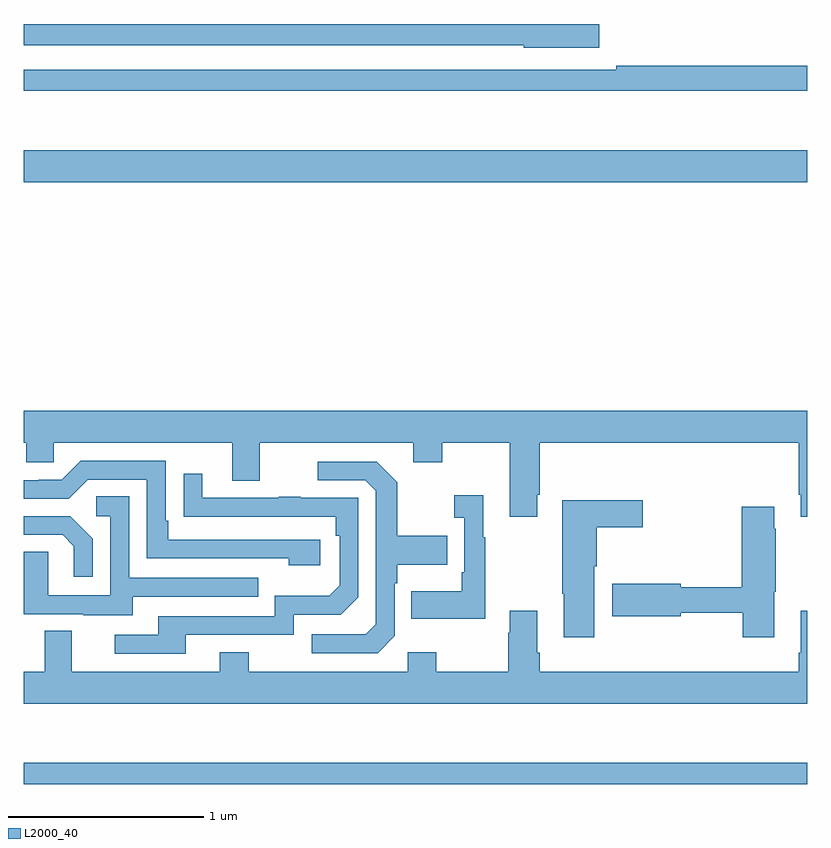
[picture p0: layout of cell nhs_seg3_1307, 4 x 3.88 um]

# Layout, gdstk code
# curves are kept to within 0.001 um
import gdstk
lib = gdstk.Library(unit=1e-6, precision=1e-09)
def R(c, l, rs):  # rectangles x0, y0, x1, y1
    for r in rs: c.add(gdstk.rectangle(r[:2], r[2:], *l))
def P(c, l, *ps):  # polygons
    for p in ps: c.add(gdstk.Polygon(p, *l))
L2000_40 = (2000, 40)

nhs_seg3_1307 = lib.new_cell('nhs_seg3_1307')
R(nhs_seg3_1307, L2000_40, [(179,688.518,183,688.627), (179,691.592,183,691.756)])
P(nhs_seg3_1307, L2000_40, [(181.939,692.4),(179,692.4),(179,692.292),(181.554,692.292),(181.554,692.279),(181.939,692.279)],
  [(183,692.186),(182.026,692.186),(182.026,692.166),(179,692.166),(179,692.058),(183,692.058)],
  [(181.621,689.995),(181.634,689.995),(181.634,690.26),(182.957,690.26),(182.957,689.995),(182.969,689.995),(182.969,689.883),(183,689.883),(183,690.424),(179,690.424),(179,690.26),(179.013,690.26),(179.013,690.162),(179.151,690.162),(179.151,690.26),(180.065,690.26),(180.065,690.066),(180.205,690.066),(180.205,690.26),(180.989,690.26),(180.989,690.161),(181.137,690.161),(181.137,690.26),(181.481,690.26),(181.481,689.883),(181.621,689.883)],
  [(180.514,689.766),(179.737,689.766),(179.737,689.863),(179.724,689.863),(179.724,690.168),(179.289,690.168),(179.193,690.072),(179.075,690.072),(179.075,690.069),(179,690.069),(179,689.976),(179.229,689.976),(179.325,690.072),(179.628,690.072),(179.628,689.67),(180.353,689.67),(180.353,689.636),(180.514,689.636)],
  [(180.894,689.274),(180.894,689.543),(180.907,689.543),(180.907,689.639),(181.163,689.639),(181.163,689.787),(180.907,689.787),(180.907,690.059),(180.801,690.165),(180.501,690.165),(180.501,690.069),(180.744,690.069),(180.798,690.015),(180.798,689.334),(180.747,689.283),(180.471,689.283),(180.471,689.187),(180.807,689.187)],
  [(179.827,689.28),(180.378,689.28),(180.378,689.382),(180.618,689.382),(180.708,689.472),(180.708,689.979),(180.413,689.979),(180.413,689.984),(180.301,689.984),(180.301,689.979),(179.911,689.979),(179.911,690.103),(179.815,690.103),(179.815,689.884),(180.592,689.883),(180.592,689.786),(180.612,689.786),(180.612,689.532),(180.559,689.479),(180.282,689.479),(180.282,689.376),(179.687,689.376),(179.687,689.28),(179.463,689.28),(179.463,689.184),(179.827,689.184)],
  [(181.357,689.779),(181.345,689.779),(181.345,689.992),(181.197,689.992),(181.197,689.879),(181.248,689.879),(181.248,689.599),(181.236,689.599),(181.236,689.503),(180.979,689.503),(180.979,689.363),(181.357,689.363)],
  [(179.557,689.475),(180.197,689.475),(180.197,689.571),(179.538,689.571),(179.538,689.987),(179.37,689.987),(179.37,689.886),(179.442,689.886),(179.442,689.481),(179.124,689.481),(179.124,689.705),(179,689.705),(179,689.385),(179.303,689.385),(179.303,689.381),(179.557,689.381)],
  [(181.912,689.629),(181.925,689.629),(181.925,689.83),(182.161,689.83),(182.161,689.967),(181.75,689.967),(181.75,689.491),(181.757,689.491),(181.757,689.268),(181.912,689.268)],
  [(182.833,689.499),(182.841,689.499),(182.841,689.822),(182.833,689.822),(182.833,689.935),(182.666,689.935),(182.666,689.522),(182.356,689.522),(182.356,689.541),(182.004,689.541),(182.004,689.375),(182.356,689.375),(182.356,689.394),(182.671,689.394),(182.671,689.268),(182.833,689.268)],
  [(179.352,689.77),(179.236,689.886),(179,689.886),(179,689.79),(179.198,689.79),(179.255,689.733),(179.255,689.577),(179.352,689.577)],
  [(183,689.404),(182.969,689.404),(182.969,689.188),(182.957,689.188),(182.957,689.092),(181.634,689.092),(181.634,689.188),(181.621,689.188),(181.621,689.404),(181.481,689.404),(181.481,689.291),(181.474,689.291),(181.474,689.092),(181.107,689.092),(181.107,689.191),(180.96,689.191),(180.96,689.092),(180.147,689.092),(180.147,689.191),(179.999,689.191),(179.999,689.092),(179.245,689.092),(179.245,689.3),(179.105,689.3),(179.105,689.092),(179,689.092),(179,688.928),(183,688.928)])

lib.write_gds('nhs_seg3_1307.gds')
